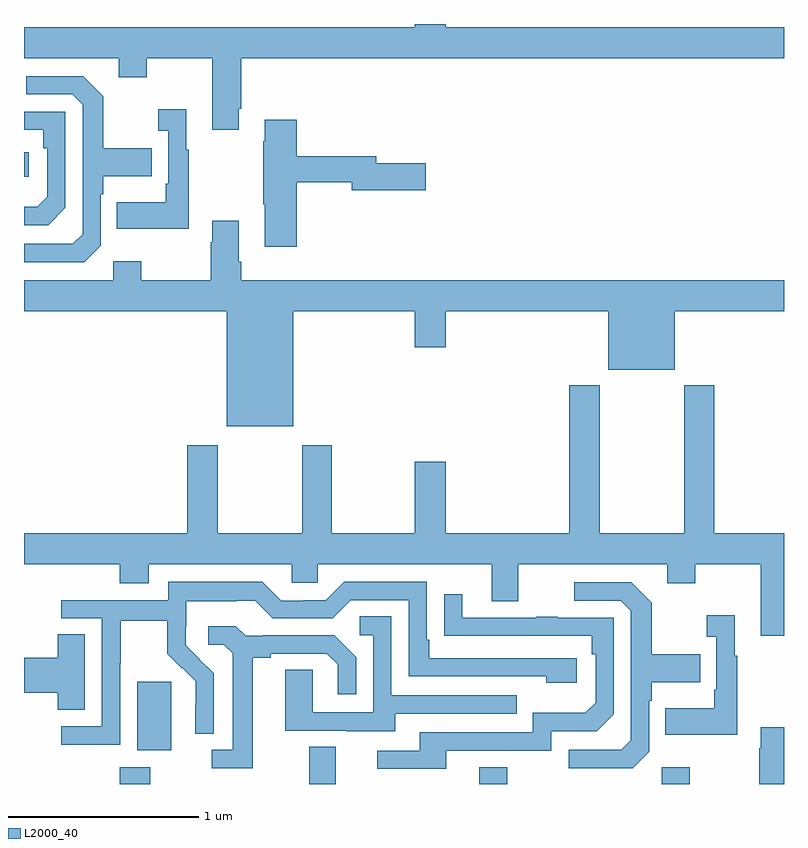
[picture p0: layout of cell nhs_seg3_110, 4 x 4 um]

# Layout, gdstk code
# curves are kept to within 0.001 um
import gdstk
lib = gdstk.Library(unit=1e-6, precision=1e-09)
def R(c, l, rs):  # rectangles x0, y0, x1, y1
    for r in rs: c.add(gdstk.rectangle(r[:2], r[2:], *l))
def P(c, l, *ps):  # polygons
    for p in ps: c.add(gdstk.Polygon(p, *l))
L2000_40 = (2000, 40)

nhs_seg3_110 = lib.new_cell('nhs_seg3_110')
R(nhs_seg3_110, L2000_40, [(115.505,726.4,115.665,726.487), (116.501,726.4,116.641,726.596), (117.395,726.4,117.543,726.487), (118.356,726.4,118.503,726.487), (115.595,726.578,115.774,726.939), (115,729.596,115.024,729.726)])
P(nhs_seg3_110, L2000_40, [(116.131,729.955),(116.144,729.955),(116.144,730.22),(119,730.22),(119,730.384),(117.22,730.384),(117.22,730.4),(117.056,730.4),(117.056,730.384),(115,730.384),(115,730.22),(115.499,730.22),(115.499,730.121),(115.647,730.121),(115.647,730.22),(115.991,730.22),(115.991,729.843),(116.131,729.843)],
  [(115.404,729.234),(115.404,729.503),(115.417,729.503),(115.417,729.599),(115.673,729.599),(115.673,729.747),(115.417,729.747),(115.417,730.019),(115.311,730.125),(115.011,730.125),(115.011,730.029),(115.254,730.029),(115.308,729.975),(115.308,729.294),(115.257,729.243),(115,729.243),(115,729.147),(115.317,729.147)],
  [(115.867,729.739),(115.855,729.739),(115.855,729.952),(115.707,729.952),(115.707,729.839),(115.758,729.839),(115.758,729.559),(115.746,729.559),(115.746,729.463),(115.489,729.463),(115.489,729.323),(115.867,729.323)],
  [(115.218,729.432),(115.218,729.939),(115,729.939),(115,729.843),(115.102,729.843),(115.102,729.746),(115.122,729.746),(115.122,729.492),(115.069,729.439),(115,729.439),(115,729.342),(115.128,729.342)],
  [(116.435,729.568),(116.726,729.568),(116.726,729.526),(117.115,729.526),(117.115,729.668),(116.854,729.668),(116.854,729.704),(116.435,729.704),(116.435,729.895),(116.267,729.895),(116.267,729.782),(116.26,729.782),(116.26,729.451),(116.267,729.451),(116.267,729.228),(116.435,729.228)],
  [(116.416,728.888),(117.056,728.888),(117.056,728.7),(117.22,728.7),(117.22,728.888),(118.076,728.888),(118.076,728.579),(118.426,728.579),(118.426,728.888),(119,728.888),(119,729.052),(116.144,729.052),(116.144,729.148),(116.131,729.148),(116.131,729.364),(115.991,729.364),(115.991,729.251),(115.984,729.251),(115.984,729.052),(115.617,729.052),(115.617,729.151),(115.47,729.151),(115.47,729.052),(115,729.052),(115,728.888),(116.066,728.888),(116.066,728.282),(116.416,728.282)],
  [(119,727.72),(118.634,727.72),(118.634,728.5),(118.474,728.5),(118.474,727.72),(118.029,727.72),(118.029,728.5),(117.869,728.5),(117.869,727.72),(117.22,727.72),(117.22,728.095),(117.056,728.095),(117.056,727.72),(116.619,727.72),(116.619,728.182),(116.464,728.182),(116.464,727.72),(116.019,727.72),(116.019,728.182),(115.859,728.182),(115.859,727.72),(115,727.72),(115,727.556),(115.505,727.556),(115.505,727.457),(115.657,727.457),(115.657,727.556),(116.409,727.556),(116.409,727.458),(116.547,727.458),(116.547,727.556),(117.461,727.556),(117.461,727.362),(117.601,727.362),(117.601,727.556),(118.385,727.556),(118.385,727.457),(118.533,727.457),(118.533,727.556),(118.877,727.556),(118.877,727.179),(119,727.179)],
  [(115.506,727.036),(115.509,727.036),(115.509,727.26),(115.753,727.26),(115.753,727.085),(115.83,727.008),(115.833,727.011),(115.904,726.941),(115.904,726.818),(115.902,726.818),(115.902,726.664),(115.998,726.664),(115.998,726.982),(115.852,727.13),(115.852,727.227),(115.854,727.227),(115.854,727.361),(116.117,727.361),(116.117,727.365),(116.217,727.365),(116.31,727.272),(116.625,727.272),(116.721,727.368),(117.024,727.368),(117.024,726.966),(117.749,726.966),(117.749,726.932),(117.91,726.932),(117.91,727.062),(117.133,727.062),(117.133,727.159),(117.12,727.159),(117.12,727.464),(116.685,727.464),(116.589,727.368),(116.471,727.368),(116.471,727.365),(116.355,727.365),(116.255,727.465),(115.758,727.465),(115.758,727.368),(115.197,727.368),(115.197,727.272),(115.41,727.272),(115.41,726.705),(115.197,726.705),(115.197,726.607),(115.506,726.607)],
  [(118.29,726.57),(118.29,726.839),(118.303,726.839),(118.303,726.935),(118.559,726.935),(118.559,727.083),(118.303,727.083),(118.303,727.355),(118.197,727.461),(117.897,727.461),(117.897,727.365),(118.14,727.365),(118.194,727.311),(118.194,726.63),(118.143,726.579),(117.867,726.579),(117.867,726.483),(118.203,726.483)],
  [(117.223,726.576),(117.774,726.576),(117.774,726.678),(118.014,726.678),(118.104,726.768),(118.104,727.275),(117.809,727.275),(117.809,727.28),(117.697,727.28),(117.697,727.275),(117.307,727.275),(117.307,727.399),(117.211,727.399),(117.211,727.18),(117.988,727.179),(117.988,727.082),(118.008,727.082),(118.008,726.828),(117.955,726.775),(117.678,726.775),(117.678,726.672),(117.083,726.672),(117.083,726.576),(116.859,726.576),(116.859,726.48),(117.223,726.48)],
  [(118.753,727.075),(118.741,727.075),(118.741,727.288),(118.593,727.288),(118.593,727.175),(118.644,727.175),(118.644,726.895),(118.632,726.895),(118.632,726.799),(118.375,726.799),(118.375,726.659),(118.753,726.659)],
  [(116.953,726.771),(117.593,726.771),(117.593,726.867),(116.934,726.867),(116.934,727.283),(116.766,727.283),(116.766,727.182),(116.838,727.182),(116.838,726.777),(116.52,726.777),(116.52,727.001),(116.375,727.001),(116.375,726.681),(116.699,726.681),(116.699,726.677),(116.953,726.677)],
  [(116.203,727.064),(116.299,727.064),(116.299,727.086),(116.594,727.086),(116.651,727.029),(116.651,726.873),(116.748,726.873),(116.748,727.066),(116.632,727.182),(116.26,727.182),(116.26,727.179),(116.166,727.179),(116.114,727.231),(115.971,727.231),(115.971,727.134),(116.052,727.134),(116.099,727.087),(116.099,726.579),(115.989,726.579),(115.989,726.483),(116.203,726.483)],
  [(115.321,727.187),(115.178,727.187),(115.178,727.064),(115,727.064),(115,726.881),(115.178,726.881),(115.178,726.79),(115.321,726.79)],
  [(119,726.7),(118.877,726.7),(118.877,726.587),(118.87,726.587),(118.87,726.4),(119,726.4)])

lib.write_gds('nhs_seg3_110.gds')
